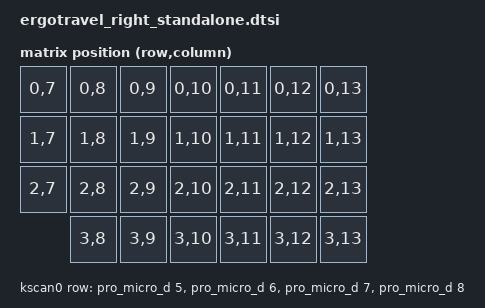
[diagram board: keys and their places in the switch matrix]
/*
 * Copyright (c) 2020 Pete Johanson
 *
 * SPDX-License-Identifier: MIT
 */

#include <dt-bindings/zmk/matrix_transform.h>

/ {
	chosen {
		zmk,kscan = &kscan0;
		zmk,matrix_transform = &default_transform;
	};

	default_transform: keymap_transform_0 {
		compatible = "zmk,matrix-transform";
		columns = <7>;
		rows = <4>;
//               | MX1  | MX2  | MX3  | MX4  | MX5  | MX6  |
//               | MX7  | MX8  | MX9  | MX10 | MX11 | MX12 |
// | MX13 | MX14 | MX15 | MX16 | MX17 | MX18 | MX19 | MX20 |
//   | MX21 | MX22 | MX23 | MX24 | MX25 |
		map = <
RC(0,7) RC(0,8) RC(0,9) RC(0,10) RC(0,11) RC(0,12) RC(0,13)
RC(1,7) RC(1,8) RC(1,9) RC(1,10) RC(1,11) RC(1,12) RC(1,13)
RC(2,7) RC(2,8) RC(2,9) RC(2,10) RC(2,11) RC(2,12) RC(2,13)
        RC(3,8) RC(3,9) RC(3,10) RC(3,11) RC(3,12) RC(3,13)
		>;
	};

	kscan0: kscan {
		compatible = "zmk,kscan-gpio-matrix";
		label = "KSCAN";

		diode-direction = "col2row";
		row-gpios
    = <&pro_micro_d 5 (GPIO_ACTIVE_HIGH | GPIO_PULL_DOWN)>
    , <&pro_micro_d 6 (GPIO_ACTIVE_HIGH | GPIO_PULL_DOWN)>
    , <&pro_micro_d 7 (GPIO_ACTIVE_HIGH | GPIO_PULL_DOWN)>
    , <&pro_micro_d 8 (GPIO_ACTIVE_HIGH | GPIO_PULL_DOWN)>
			;

	};

};
